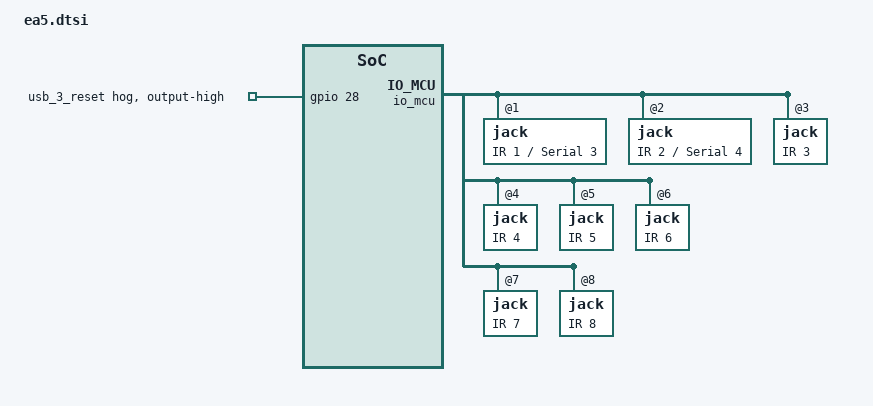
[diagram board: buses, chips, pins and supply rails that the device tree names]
// SPDX-License-Identifier: GPL-2.0
/* Control4 EA-5 ("garmadon"): what V1 and V2 share. See site/src/content/docs/ea/ea5.md. */
#include "ea.dtsi"
#include "ea-switch.dtsi"
#include "ea-audio-fpga.dtsi"

#define EA_LINE_28	"usb_3_reset"

&gpio {
	usb-3-reset-hog {
		gpio-hog;
		gpios = <28 GPIO_ACTIVE_HIGH>;
		output-high;
		line-name = "usb_3_reset";
	};
};

/*
 * Eight IR jacks; IR 1 and 2 double as serial ports 3 and 4 (1 and 2 are the
 * DB9s, which are not on the MCU).
 */
/* Pins: docs shared/io-mcu-pinmap (stock TM4C profile block 4, inferred). */
&io_mcu {
	jack@1 {
		reg = <1>;
		label = "IR 1 / Serial 3";
		control4,ir-channel = <0>;
		control4,ir-pin = <IOMCU_PORT_B 6>;
		control4,uart = <0>;
		control4,uart-pins = <IOMCU_PORT_E 4>, <IOMCU_PORT_E 5>;
		control4,uart-mux-pins = <IOMCU_PORT_E 2>, <IOMCU_PORT_B 1>;
	};
	jack@2 {
		reg = <2>;
		label = "IR 2 / Serial 4";
		control4,ir-channel = <1>;
		control4,ir-pin = <IOMCU_PORT_F 2>;
		control4,uart = <1>;
		control4,uart-pins = <IOMCU_PORT_E 0>, <IOMCU_PORT_E 1>;
		control4,uart-mux-pins = <IOMCU_PORT_E 3>, <IOMCU_PORT_B 3>;
	};
	jack@3 {
		reg = <3>;
		label = "IR 3";
		control4,ir-channel = <2>;
		control4,ir-pin = <IOMCU_PORT_B 0>;
	};
	jack@4 {
		reg = <4>;
		label = "IR 4";
		control4,ir-channel = <3>;
		control4,ir-pin = <IOMCU_PORT_B 2>;
	};
	jack@5 {
		/* pin from block 4, inferred (#128) */
		reg = <5>;
		label = "IR 5";
		control4,ir-channel = <4>;
		control4,ir-pin = <IOMCU_PORT_D 0>;
	};
	jack@6 {
		/* pin from block 4, inferred (#128) */
		reg = <6>;
		label = "IR 6";
		control4,ir-channel = <5>;
		control4,ir-pin = <IOMCU_PORT_D 2>;
	};
	jack@7 {
		/* pin from block 4, inferred (#128) */
		reg = <7>;
		label = "IR 7";
		control4,ir-channel = <6>;
		control4,ir-pin = <IOMCU_PORT_C 4>;
	};
	jack@8 {
		/* pin from block 4, inferred (#128) */
		reg = <8>;
		label = "IR 8";
		control4,ir-channel = <7>;
		control4,ir-pin = <IOMCU_PORT_C 6>;
	};
	ir-blaster {
		control4,ir-channel = <8>;
		control4,ir-pin = <IOMCU_PORT_D 4>;
	};

	relays {
		#address-cells = <1>;
		#size-cells = <0>;

		relay@0 {
			reg = <0>;
			label = "Relay 1";
			control4,pin = <IOMCU_PORT_A 2>;
		};
		relay@1 {
			reg = <1>;
			label = "Relay 2";
			control4,pin = <IOMCU_PORT_A 3>;
		};
		relay@2 {
			reg = <2>;
			label = "Relay 3";
			control4,pin = <IOMCU_PORT_A 4>;
		};
		relay@3 {
			reg = <3>;
			label = "Relay 4";
			control4,pin = <IOMCU_PORT_A 5>;
		};
	};

	contacts {
		#address-cells = <1>;
		#size-cells = <0>;

		contact@0 {
			reg = <0>;
			label = "Contact 1";
			control4,pin = <IOMCU_PORT_F 0>;
			control4,active-low;
		};
		contact@1 {
			reg = <1>;
			label = "Contact 2";
			control4,pin = <IOMCU_PORT_F 1>;
			control4,active-low;
		};
		contact@2 {
			reg = <2>;
			label = "Contact 3";
			control4,pin = <IOMCU_PORT_F 3>;
			control4,active-low;
		};
		contact@3 {
			reg = <3>;
			label = "Contact 4";
			control4,pin = <IOMCU_PORT_F 4>;
			control4,active-low;
		};
	};
};

/* ETHERNET IN plus four switch ports; which port is which jack is unverified (#128). */
&switch_ports {
	port@0 {
		reg = <0>;
		label = "lan0";
	};
	port@1 {
		reg = <1>;
		label = "lan1";
	};
	port@2 {
		reg = <2>;
		label = "lan2";
	};
	port@3 {
		reg = <3>;
		label = "lan3";
	};
	port@4 {
		reg = <4>;
		label = "lan4";
	};
};
